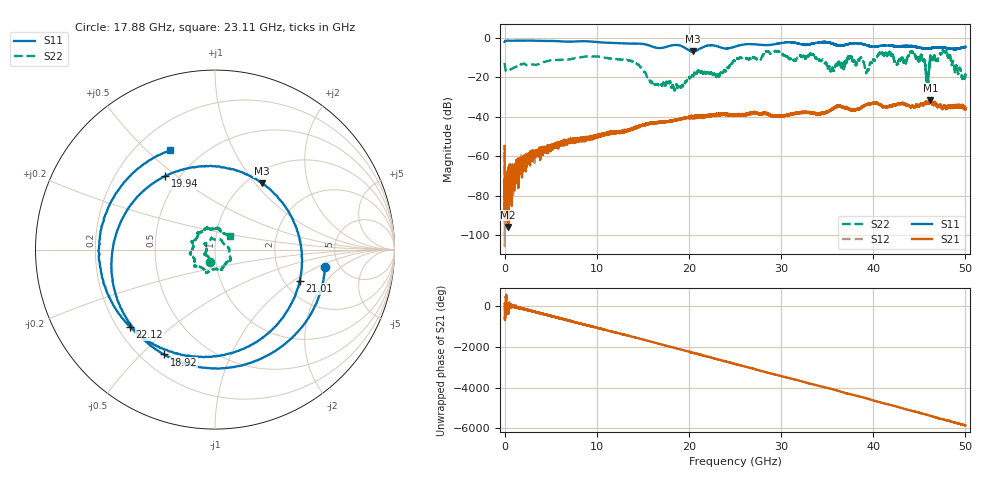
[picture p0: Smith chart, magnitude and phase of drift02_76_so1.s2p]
!Created with skrf (http://scikit-rf.org).
# Hz S RI R 50.0
!freq ReS11 ImS11 ReS21 ImS21 ReS12 ImS12 ReS22 ImS22
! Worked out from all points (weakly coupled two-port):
!   10001 points, 300 kHz to 50 GHz, reference 50 ohm
!   highest |S21| = -31.40 dB at 46.2 GHz (marker M1); lowest = -95.7 dB at 360.3 MHz (marker M2)
!   lowest |S11| = -6.9 dB at 20.44 GHz (marker M3), VSWR 2.65, Z = 58.4 + j54 ohm
!   |S11| at or under -10 dB: nowhere
!   |S22| runs from -26.7 to -6.2 dB; largest |S21 - S12| = 0.0029
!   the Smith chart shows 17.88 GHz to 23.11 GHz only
!   S11 on the Smith chart (normalised r, x): 17.88 GHz: 3.85, -1.25; 18.92 GHz: 0.29, -0.59; 19.94 GHz: 0.42, +0.45; 21.01 GHz: 2.41, -1.13; 22.12 GHz: 0.25, -0.37; 23.11 GHz: 0.34, +0.59
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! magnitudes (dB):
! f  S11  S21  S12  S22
! 300 kHz  -2.1  -54.8  -58.3  -12.7
! 360.3 MHz  -1.4  -95.7  -72.5  -16.9
! 2.925 GHz  -1.4  -62.0  -58.7  -13.6
! 8.335 GHz  -1.7  -52.0  -51.4  -9.7
! 13.71 GHz  -3.0  -46.3  -46.5  -11.7
! 16.67 GHz  -5.2  -42.9  -42.7  -23.8
! 17.88 GHz  -4.1  -42.2  -42.2  -22.5
! 18.92 GHz  -3.7  -41.2  -41.0  -23.4
! 19.94 GHz  -6.1  -40.5  -40.3  -19.7
! 20.44 GHz  -6.9  -39.9  -39.8  -19.2
! 21.01 GHz  -6.0  -40.2  -40.0  -16.7
! 22.12 GHz  -3.9  -39.3  -39.2  -17.5
! 23.11 GHz  -4.3  -39.0  -38.9  -18.8
! 25 GHz  -4.5  -39.0  -39.3  -11.5
! 33.34 GHz  -3.0  -38.2  -37.9  -8.3
! 39.33 GHz  -3.8  -34.0  -33.6  -16.7
! 41.67 GHz  -4.0  -34.7  -34.5  -7.7
! 44.28 GHz  -4.4  -34.6  -34.9  -7.5
! 45.87 GHz  -5.3  -33.0  -33.2  -21.6
! 46.2 GHz  -5.2  -31.4  -31.8  -9.3
! 47.75 GHz  -5.0  -34.1  -34.4  -6.9
! 50 GHz  -4.7  -36.1  -35.7  -18.8
